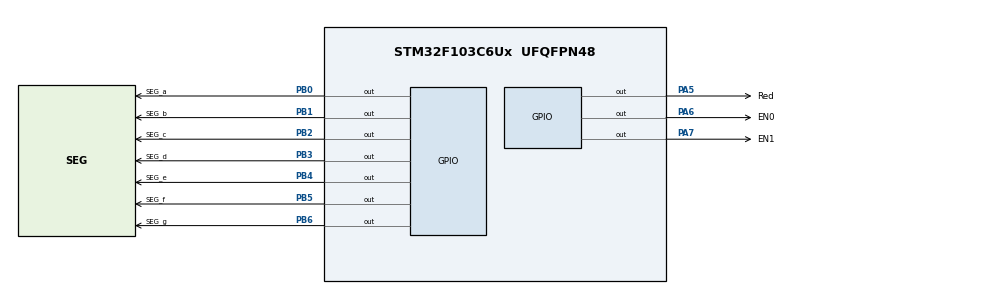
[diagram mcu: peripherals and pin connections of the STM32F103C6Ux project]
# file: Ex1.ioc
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Mcu.Family=STM32F1
Mcu.Name=STM32F103C6Ux
Mcu.Package=UFQFPN48
NVIC.PriorityGroup=NVIC_PRIORITYGROUP_4
NVIC.TIM2_IRQn=true\:0\:0\:false\:false\:true\:true\:true
PA5.GPIO_Label=Red
PA5.Signal=GPIO_Output
PA6.GPIO_Label=EN0
PA6.Signal=GPIO_Output
PA7.GPIO_Label=EN1
PA7.Signal=GPIO_Output
PB0.GPIO_Label=SEG_a
PB0.Signal=GPIO_Output
PB1.GPIO_Label=SEG_b
PB1.Signal=GPIO_Output
PB2.GPIO_Label=SEG_c
PB2.Signal=GPIO_Output
PB3.GPIO_Label=SEG_d
PB3.Signal=GPIO_Output
PB4.GPIO_Label=SEG_e
PB4.Signal=GPIO_Output
PB5.GPIO_Label=SEG_f
PB5.Signal=GPIO_Output
PB6.GPIO_Label=SEG_g
PB6.Signal=GPIO_Output
ProjectManager.HeapSize=0x200
ProjectManager.StackSize=0x400
ProjectManager.TargetToolchain=STM32CubeIDE
RCC.APB1Freq_Value=8000000
RCC.APB2Freq_Value=8000000
TIM2.Period=9
TIM2.Prescaler=7999
VP_SYS_VS_ND.Mode=No_Debug
VP_TIM2_VS_ClockSourceINT.Mode=Internal
board=custom

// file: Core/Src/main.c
/* USER CODE BEGIN Header */
/**
  ******************************************************************************
  * @file           : main.c
  * @brief          : Main program body
  ******************************************************************************
  * @attention
  *
  * <h2><center>&copy; Copyright (c) 2022 STMicroelectronics.
  * All rights reserved.</center></h2>
  *
  * This software component is licensed by ST under BSD 3-Clause license,
  * the "License"; You may not use this file except in compliance with the
  * License. You may obtain a copy of the License at:
  *                        opensource.org/licenses/BSD-3-Clause
  *
  ******************************************************************************
  */
/* USER CODE END Header */
#include "main.h"

TIM_HandleTypeDef htim2;

void SystemClock_Config(void);
static void MX_GPIO_Init(void);
static void MX_TIM2_Init(void);

/* USER CODE BEGIN 0 */
void display7SEG(int num){
	  if(num == 0){
		  HAL_GPIO_WritePin(SEG_a_GPIO_Port, SEG_a_Pin, RESET);
		  HAL_GPIO_WritePin(SEG_b_GPIO_Port, SEG_b_Pin, RESET);
		  HAL_GPIO_WritePin(SEG_c_GPIO_Port, SEG_c_Pin, RESET);
		  HAL_GPIO_WritePin(SEG_d_GPIO_Port, SEG_d_Pin, RESET);
		  HAL_GPIO_WritePin(SEG_e_GPIO_Port, SEG_e_Pin, RESET);
		  HAL_GPIO_WritePin(SEG_f_GPIO_Port, SEG_f_Pin, RESET);
		  HAL_GPIO_WritePin(SEG_g_GPIO_Port, SEG_g_Pin, SET);
	  }
	  if(num == 1){
		  HAL_GPIO_WritePin(SEG_a_GPIO_Port, SEG_a_Pin, SET);
		  HAL_GPIO_WritePin(SEG_b_GPIO_Port, SEG_b_Pin, RESET);
		  HAL_GPIO_WritePin(SEG_c_GPIO_Port, SEG_c_Pin, RESET);
		  HAL_GPIO_WritePin(SEG_d_GPIO_Port, SEG_d_Pin, SET);
		  HAL_GPIO_WritePin(SEG_e_GPIO_Port, SEG_e_Pin, SET);
		  HAL_GPIO_WritePin(SEG_f_GPIO_Port, SEG_f_Pin, SET);
		  HAL_GPIO_WritePin(SEG_g_GPIO_Port, SEG_g_Pin, SET);
	  }
	  if(num == 2){
		  HAL_GPIO_WritePin(SEG_a_GPIO_Port, SEG_a_Pin, RESET);
		  HAL_GPIO_WritePin(SEG_b_GPIO_Port, SEG_b_Pin, RESET);
		  HAL_GPIO_WritePin(SEG_c_GPIO_Port, SEG_c_Pin, SET);
		  HAL_GPIO_WritePin(SEG_d_GPIO_Port, SEG_d_Pin, RESET);
		  HAL_GPIO_WritePin(SEG_e_GPIO_Port, SEG_e_Pin, RESET);
		  HAL_GPIO_WritePin(SEG_f_GPIO_Port, SEG_f_Pin, SET);
		  HAL_GPIO_WritePin(SEG_g_GPIO_Port, SEG_g_Pin, RESET);
	  }
	  if(num == 3){
		  HAL_GPIO_WritePin(SEG_a_GPIO_Port, SEG_a_Pin, RESET);
		  HAL_GPIO_WritePin(SEG_b_GPIO_Port, SEG_b_Pin, RESET);
		  HAL_GPIO_WritePin(SEG_c_GPIO_Port, SEG_c_Pin, RESET);
		  HAL_GPIO_WritePin(SEG_d_GPIO_Port, SEG_d_Pin, RESET);
		  HAL_GPIO_WritePin(SEG_e_GPIO_Port, SEG_e_Pin, SET);
		  HAL_GPIO_WritePin(SEG_f_GPIO_Port, SEG_f_Pin, SET);
		  HAL_GPIO_WritePin(SEG_g_GPIO_Port, SEG_g_Pin, RESET);
	  }
	  if(num == 4){
		  HAL_GPIO_WritePin(SEG_a_GPIO_Port, SEG_a_Pin, SET);
		  HAL_GPIO_WritePin(SEG_b_GPIO_Port, SEG_b_Pin, RESET);
		  HAL_GPIO_WritePin(SEG_c_GPIO_Port, SEG_c_Pin, RESET);
		  HAL_GPIO_WritePin(SEG_d_GPIO_Port, SEG_d_Pin, SET);
		  HAL_GPIO_WritePin(SEG_e_GPIO_Port, SEG_e_Pin, SET);
		  HAL_GPIO_WritePin(SEG_f_GPIO_Port, SEG_f_Pin, RESET);
		  HAL_GPIO_WritePin(SEG_g_GPIO_Port, SEG_g_Pin, RESET);
	  }
	  if(num == 5){
		  HAL_GPIO_WritePin(SEG_a_GPIO_Port, SEG_a_Pin, RESET);
		  HAL_GPIO_WritePin(SEG_b_GPIO_Port, SEG_b_Pin, SET);
		  HAL_GPIO_WritePin(SEG_c_GPIO_Port, SEG_c_Pin, RESET);
		  HAL_GPIO_WritePin(SEG_d_GPIO_Port, SEG_d_Pin, RESET);
		  HAL_GPIO_WritePin(SEG_e_GPIO_Port, SEG_e_Pin, SET);
		  HAL_GPIO_WritePin(SEG_f_GPIO_Port, SEG_f_Pin, RESET);
		  HAL_GPIO_WritePin(SEG_g_GPIO_Port, SEG_g_Pin, RESET);
	  }
	  if(num == 6){
		  HAL_GPIO_WritePin(SEG_a_GPIO_Port, SEG_a_Pin, RESET);
		  HAL_GPIO_WritePin(SEG_b_GPIO_Port, SEG_b_Pin, SET);
		  HAL_GPIO_WritePin(SEG_c_GPIO_Port, SEG_c_Pin, RESET);
		  HAL_GPIO_WritePin(SEG_d_GPIO_Port, SEG_d_Pin, RESET);
		  HAL_GPIO_WritePin(SEG_e_GPIO_Port, SEG_e_Pin, RESET);
		  HAL_GPIO_WritePin(SEG_f_GPIO_Port, SEG_f_Pin, RESET);
		  HAL_GPIO_WritePin(SEG_g_GPIO_Port, SEG_g_Pin, RESET);
	  }
	  if(num == 7){
		  HAL_GPIO_WritePin(SEG_a_GPIO_Port, SEG_a_Pin, RESET);
		  HAL_GPIO_WritePin(SEG_b_GPIO_Port, SEG_b_Pin, RESET);
		  HAL_GPIO_WritePin(SEG_c_GPIO_Port, SEG_c_Pin, RESET);
		  HAL_GPIO_WritePin(SEG_d_GPIO_Port, SEG_d_Pin, SET);
		  HAL_GPIO_WritePin(SEG_e_GPIO_Port, SEG_e_Pin, SET);
		  HAL_GPIO_WritePin(SEG_f_GPIO_Port, SEG_f_Pin, SET);
		  HAL_GPIO_WritePin(SEG_g_GPIO_Port, SEG_g_Pin, SET);
	  }
	  if(num == 8){
		  HAL_GPIO_WritePin(SEG_a_GPIO_Port, SEG_a_Pin, RESET);
		  HAL_GPIO_WritePin(SEG_b_GPIO_Port, SEG_b_Pin, RESET);
		  HAL_GPIO_WritePin(SEG_c_GPIO_Port, SEG_c_Pin, RESET);
		  HAL_GPIO_WritePin(SEG_d_GPIO_Port, SEG_d_Pin, RESET);
		  HAL_GPIO_WritePin(SEG_e_GPIO_Port, SEG_e_Pin, RESET);
		  HAL_GPIO_WritePin(SEG_f_GPIO_Port, SEG_f_Pin, RESET);
		  HAL_GPIO_WritePin(SEG_g_GPIO_Port, SEG_g_Pin, RESET);
	  }
	  if(num == 9){
		  HAL_GPIO_WritePin(SEG_a_GPIO_Port, SEG_a_Pin, RESET);
		  HAL_GPIO_WritePin(SEG_b_GPIO_Port, SEG_b_Pin, RESET);
		  HAL_GPIO_WritePin(SEG_c_GPIO_Port, SEG_c_Pin, RESET);
		  HAL_GPIO_WritePin(SEG_d_GPIO_Port, SEG_d_Pin, RESET);
		  HAL_GPIO_WritePin(SEG_e_GPIO_Port, SEG_e_Pin, SET);
		  HAL_GPIO_WritePin(SEG_f_GPIO_Port, SEG_f_Pin, RESET);
		  HAL_GPIO_WritePin(SEG_g_GPIO_Port, SEG_g_Pin, RESET);
	  }
}
/* USER CODE END 0 */

int main(void)
{

  /* MCU Configuration--------------------------------------------------------*/

  /* Reset of all peripherals, Initializes the Flash interface and the Systick. */
  HAL_Init();

  /* Configure the system clock */
  SystemClock_Config();

  /* Initialize all configured peripherals */
  MX_GPIO_Init();
  MX_TIM2_Init();
  /* USER CODE BEGIN 2 */
  HAL_TIM_Base_Start_IT(&htim2);
  /* USER CODE END 2 */

  /* Infinite loop */
  while (1)
  {

  }
}

void SystemClock_Config(void)
{
  RCC_OscInitTypeDef RCC_OscInitStruct = {0};
  RCC_ClkInitTypeDef RCC_ClkInitStruct = {0};

  /** Initializes the RCC Oscillators according to the specified parameters
  * in the RCC_OscInitTypeDef structure.
  */
  RCC_OscInitStruct.OscillatorType = RCC_OSCILLATORTYPE_HSI;
  RCC_OscInitStruct.HSIState = RCC_HSI_ON;
  RCC_OscInitStruct.HSICalibrationValue = RCC_HSICALIBRATION_DEFAULT;
  RCC_OscInitStruct.PLL.PLLState = RCC_PLL_NONE;
  if (HAL_RCC_OscConfig(&RCC_OscInitStruct) != HAL_OK)
  {
    Error_Handler();
  }
  /** Initializes the CPU, AHB and APB buses clocks
  */
  RCC_ClkInitStruct.ClockType = RCC_CLOCKTYPE_HCLK|RCC_CLOCKTYPE_SYSCLK
                              |RCC_CLOCKTYPE_PCLK1|RCC_CLOCKTYPE_PCLK2;
  RCC_ClkInitStruct.SYSCLKSource = RCC_SYSCLKSOURCE_HSI;
  RCC_ClkInitStruct.AHBCLKDivider = RCC_SYSCLK_DIV1;
  RCC_ClkInitStruct.APB1CLKDivider = RCC_HCLK_DIV1;
  RCC_ClkInitStruct.APB2CLKDivider = RCC_HCLK_DIV1;

  if (HAL_RCC_ClockConfig(&RCC_ClkInitStruct, FLASH_LATENCY_0) != HAL_OK)
  {
    Error_Handler();
  }
}

static void MX_TIM2_Init(void)
{

  TIM_ClockConfigTypeDef sClockSourceConfig = {0};
  TIM_MasterConfigTypeDef sMasterConfig = {0};

  htim2.Instance = TIM2;
  htim2.Init.Prescaler = 7999;
  htim2.Init.CounterMode = TIM_COUNTERMODE_UP;
  htim2.Init.Period = 9;
  htim2.Init.ClockDivision = TIM_CLOCKDIVISION_DIV1;
  htim2.Init.AutoReloadPreload = TIM_AUTORELOAD_PRELOAD_DISABLE;
  if (HAL_TIM_Base_Init(&htim2) != HAL_OK)
  {
    Error_Handler();
  }
  sClockSourceConfig.ClockSource = TIM_CLOCKSOURCE_INTERNAL;
  if (HAL_TIM_ConfigClockSource(&htim2, &sClockSourceConfig) != HAL_OK)
  {
    Error_Handler();
  }
  sMasterConfig.MasterOutputTrigger = TIM_TRGO_RESET;
  sMasterConfig.MasterSlaveMode = TIM_MASTERSLAVEMODE_DISABLE;
  if (HAL_TIMEx_MasterConfigSynchronization(&htim2, &sMasterConfig) != HAL_OK)
  {
    Error_Handler();
  }

}

static void MX_GPIO_Init(void)
{
  GPIO_InitTypeDef GPIO_InitStruct = {0};

  /* GPIO Ports Clock Enable */
  __HAL_RCC_GPIOA_CLK_ENABLE();
  __HAL_RCC_GPIOB_CLK_ENABLE();

  /*Configure GPIO pin Output Level */
  HAL_GPIO_WritePin(GPIOA, Red_Pin|EN0_Pin|EN1_Pin, GPIO_PIN_RESET);

  /*Configure GPIO pin Output Level */
  HAL_GPIO_WritePin(GPIOB, SEG_a_Pin|SEG_b_Pin|SEG_c_Pin|SEG_d_Pin
                          |SEG_e_Pin|SEG_f_Pin|SEG_g_Pin, GPIO_PIN_RESET);

  /*Configure GPIO pins : Red_Pin EN0_Pin EN1_Pin */
  GPIO_InitStruct.Pin = Red_Pin|EN0_Pin|EN1_Pin;
  GPIO_InitStruct.Mode = GPIO_MODE_OUTPUT_PP;
  GPIO_InitStruct.Pull = GPIO_NOPULL;
  GPIO_InitStruct.Speed = GPIO_SPEED_FREQ_LOW;
  HAL_GPIO_Init(GPIOA, &GPIO_InitStruct);

  /*Configure GPIO pins : SEG_a_Pin SEG_b_Pin SEG_c_Pin SEG_d_Pin
                           SEG_e_Pin SEG_f_Pin SEG_g_Pin */
  GPIO_InitStruct.Pin = SEG_a_Pin|SEG_b_Pin|SEG_c_Pin|SEG_d_Pin
                          |SEG_e_Pin|SEG_f_Pin|SEG_g_Pin;
  GPIO_InitStruct.Mode = GPIO_MODE_OUTPUT_PP;
  GPIO_InitStruct.Pull = GPIO_NOPULL;
  GPIO_InitStruct.Speed = GPIO_SPEED_FREQ_LOW;
  HAL_GPIO_Init(GPIOB, &GPIO_InitStruct);

}

/* USER CODE BEGIN 4 */
int counter = 100;
void HAL_TIM_PeriodElapsedCallback( TIM_HandleTypeDef * htim){
	counter--;
	/*Enable first Led*/
	if(counter == 50){
		HAL_GPIO_WritePin(EN1_GPIO_Port, EN1_Pin, SET);
		display7SEG(1);
		HAL_GPIO_WritePin(EN0_GPIO_Port, EN0_Pin, RESET);
	}
	/*Enable second led*/
	if(counter <= 0){
		HAL_GPIO_WritePin(EN0_GPIO_Port, EN0_Pin, SET);
		display7SEG(2);
		HAL_GPIO_WritePin(EN1_GPIO_Port, EN1_Pin, RESET);
		/*Toggle Red-led state every second */
		HAL_GPIO_TogglePin(Red_GPIO_Port, Red_Pin);
		/*Reset timer */
		counter = 100;
	}
}
/* USER CODE END 4 */

void Error_Handler(void)
{
  __disable_irq();
  while (1)
  {
  }
}

/************************ (C) COPYRIGHT STMicroelectronics *****END OF FILE****/
